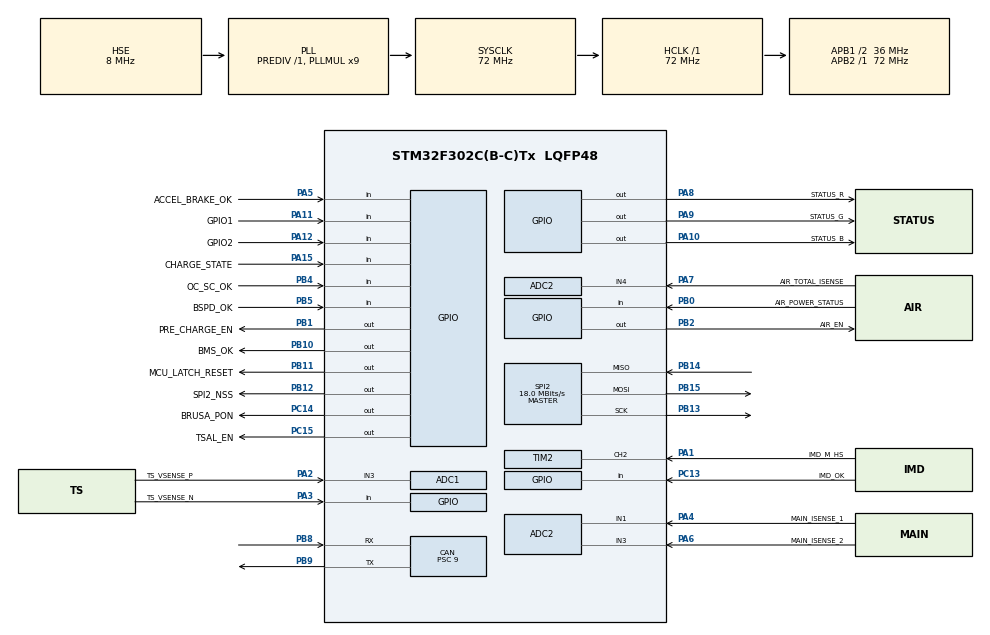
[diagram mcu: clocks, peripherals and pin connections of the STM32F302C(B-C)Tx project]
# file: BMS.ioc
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ADC1.Channel-0\#ChannelRegularConversion=ADC_CHANNEL_3
ADC1.ClockPrescaler=ADC_CLOCK_ASYNC_DIV1
ADC1.ContinuousConvMode=DISABLE
ADC1.DMAContinuousRequests=ENABLE
ADC1.DataAlign=ADC_DATAALIGN_RIGHT
ADC1.DiscontinuousConvMode=DISABLE
ADC1.EOCSelection=ADC_EOC_SINGLE_CONV
ADC1.EnableAnalogWatchDog1=false
ADC1.EnableAnalogWatchDog2=false
ADC1.EnableAnalogWatchDog3=false
ADC1.EnableInjectedConversion=ENABLE
ADC1.EnableRegularConversion=ENABLE
ADC1.ExternalTrigConv=ADC_EXTERNALTRIGCONV_T3_TRGO
ADC1.ExternalTrigConvEdge=ADC_EXTERNALTRIGCONVEDGE_RISING
ADC1.InjNumberOfConversion=0
ADC1.LowPowerAutoWait=DISABLE
ADC1.NbrOfConversion=1
ADC1.Offset-0\#ChannelRegularConversion=0
ADC1.OffsetNumber-0\#ChannelRegularConversion=ADC_OFFSET_NONE
ADC1.Overrun=ADC_OVR_DATA_OVERWRITTEN
ADC1.Rank-0\#ChannelRegularConversion=1
ADC1.Resolution=ADC_RESOLUTION_12B
ADC1.SamplingTime-0\#ChannelRegularConversion=ADC_SAMPLETIME_61CYCLES_5
ADC1.ScanConvMode=ADC_SCAN_DISABLE
ADC1.SubFamily=STM32F302xC
ADC1.master=1
ADC2.Channel-0\#ChannelRegularConversion=ADC_CHANNEL_1
ADC2.Channel-1\#ChannelRegularConversion=ADC_CHANNEL_3
ADC2.Channel-2\#ChannelRegularConversion=ADC_CHANNEL_4
ADC2.DMAContinuousRequests=ENABLE
ADC2.EOCSelection=ADC_EOC_SEQ_CONV
ADC2.ExternalTrigConv=ADC_EXTERNALTRIGCONV_T3_TRGO
ADC2.NbrOfConversion=3
ADC2.NbrOfConversionFlag=1
ADC2.Offset-0\#ChannelRegularConversion=0
ADC2.Offset-1\#ChannelRegularConversion=0
ADC2.Offset-2\#ChannelRegularConversion=0
ADC2.OffsetNumber-0\#ChannelRegularConversion=ADC_OFFSET_NONE
ADC2.OffsetNumber-1\#ChannelRegularConversion=ADC_OFFSET_NONE
ADC2.OffsetNumber-2\#ChannelRegularConversion=ADC_OFFSET_NONE
ADC2.Rank-0\#ChannelRegularConversion=1
ADC2.Rank-1\#ChannelRegularConversion=2
ADC2.Rank-2\#ChannelRegularConversion=3
ADC2.SamplingTime-0\#ChannelRegularConversion=ADC_SAMPLETIME_61CYCLES_5
ADC2.SamplingTime-1\#ChannelRegularConversion=ADC_SAMPLETIME_61CYCLES_5
ADC2.SamplingTime-2\#ChannelRegularConversion=ADC_SAMPLETIME_61CYCLES_5
ADC2.SubFamily=STM32F302xC
CAN.ABOM=ENABLE
CAN.AWUM=DISABLE
CAN.BS1=CAN_BS1_6TQ
CAN.BS2=CAN_BS2_1TQ
CAN.CalculateTimeQuantum=250.0
CAN.Mode=CAN_MODE_NORMAL
CAN.NART=ENABLE
CAN.Prescaler=9
CAN.RFLM=ENABLE
CAN.SJW=CAN_SJW_4TQ
CAN.TTCM=DISABLE
CAN.TXFP=ENABLE
Dma.ADC1.1.Direction=DMA_PERIPH_TO_MEMORY
Dma.ADC1.1.Instance=DMA1_Channel1
Dma.ADC1.1.MemDataAlignment=DMA_MDATAALIGN_HALFWORD
Dma.ADC1.1.MemInc=DMA_MINC_ENABLE
Dma.ADC1.1.Mode=DMA_CIRCULAR
Dma.ADC1.1.PeriphDataAlignment=DMA_PDATAALIGN_HALFWORD
Dma.ADC1.1.PeriphInc=DMA_PINC_DISABLE
Dma.ADC1.1.Priority=DMA_PRIORITY_LOW
Dma.ADC2.0.Direction=DMA_PERIPH_TO_MEMORY
Dma.ADC2.0.Instance=DMA2_Channel1
Dma.ADC2.0.MemDataAlignment=DMA_MDATAALIGN_HALFWORD
Dma.ADC2.0.MemInc=DMA_MINC_ENABLE
Dma.ADC2.0.Mode=DMA_CIRCULAR
Dma.ADC2.0.PeriphDataAlignment=DMA_PDATAALIGN_HALFWORD
Dma.ADC2.0.PeriphInc=DMA_PINC_DISABLE
Dma.ADC2.0.Priority=DMA_PRIORITY_LOW
Dma.Request0=ADC2
Dma.Request1=ADC1
FREERTOS.INCLUDE_eTaskGetState=0
FREERTOS.INCLUDE_pcTaskGetTaskName=0
FREERTOS.INCLUDE_uxTaskGetStackHighWaterMark=1
FREERTOS.INCLUDE_uxTaskPriorityGet=1
FREERTOS.INCLUDE_vTaskCleanUpResources=0
FREERTOS.INCLUDE_vTaskDelay=1
FREERTOS.INCLUDE_vTaskDelayUntil=1
FREERTOS.INCLUDE_vTaskDelete=1
FREERTOS.INCLUDE_vTaskPrioritySet=1
FREERTOS.INCLUDE_vTaskSuspend=1
FREERTOS.INCLUDE_xEventGroupSetBitFromISR=0
FREERTOS.INCLUDE_xQueueGetMutexHolder=0
FREERTOS.INCLUDE_xSemaphoreGetMutexHolder=0
FREERTOS.INCLUDE_xTaskAbortDelay=0
FREERTOS.INCLUDE_xTaskGetCurrentTaskHandle=0
FREERTOS.INCLUDE_xTaskGetHandle=0
FREERTOS.INCLUDE_xTaskResumeFromISR=1
FREERTOS.MEMORY_ALLOCATION=1
FREERTOS.Tasks01=Task1Hz,-2,TASK1HZ_STACK_SIZE,RunTask1Hz,Default,NULL,Static,Task1HzBuffer,Task1HzControlBlock;Task1kHz,1,TASK1KHZ_STACK_SIZE,RunTask1kHz,Default,NULL,Static,Task1kHzBuffer,Task1kHzControlBlock;TaskCanRx,-3,TASKCANRX_STACK_SIZE,RunTaskCanRx,Default,NULL,Static,TaskCanRxBuffer,TaskCanRxControlBlock;TaskCanTx,-3,TASKCANTX_STACK_SIZE,RunTaskCanTx,Default,NULL,Static,TaskCanTxBuffer,TaskCanTxControlBlock;Task100Hz,-1,TASK100HZ_STACK_SIZE,RunTask100Hz,Default,NULL,Static,Task100HzBuffer,Task100HzControlBlock
FREERTOS.configCHECK_FOR_STACK_OVERFLOW=2
FREERTOS.configENABLE_BACKWARD_COMPATIBILITY=1
FREERTOS.configGENERATE_RUN_TIME_STATS=0
FREERTOS.configIDLE_SHOULD_YIELD=1
FREERTOS.configLIBRARY_LOWEST_INTERRUPT_PRIORITY=15
FREERTOS.configLIBRARY_MAX_SYSCALL_INTERRUPT_PRIORITY=5
FREERTOS.configMAX_CO_ROUTINE_PRIORITIES=2
FREERTOS.configMAX_PRIORITIES=7
FREERTOS.configMAX_TASK_NAME_LEN=16
FREERTOS.configMINIMAL_STACK_SIZE=128
FREERTOS.configQUEUE_REGISTRY_SIZE=8
FREERTOS.configTICK_RATE_HZ=1000
FREERTOS.configUSE_APPLICATION_TASK_TAG=0
FREERTOS.configUSE_COUNTING_SEMAPHORES=0
FREERTOS.configUSE_CO_ROUTINES=0
FREERTOS.configUSE_DAEMON_TASK_STARTUP_HOOK=0
FREERTOS.configUSE_IDLE_HOOK=0
FREERTOS.configUSE_MALLOC_FAILED_HOOK=0
FREERTOS.configUSE_MUTEXES=1
FREERTOS.configUSE_PREEMPTION=1
FREERTOS.configUSE_RECURSIVE_MUTEXES=0
FREERTOS.configUSE_STATS_FORMATTING_FUNCTIONS=0
FREERTOS.configUSE_TASK_NOTIFICATIONS=1
FREERTOS.configUSE_TICKLESS_IDLE=0
FREERTOS.configUSE_TICK_HOOK=1
FREERTOS.configUSE_TIMERS=0
FREERTOS.configUSE_TRACE_FACILITY=1
IWDG.Prescaler=IWDG_PRESCALER_4
IWDG.Reload=LSI_FREQUENCY / IWDG_PRESCALER / IWDG_RESET_FREQUENCY
IWDG.Window=IWDG_WINDOW_DISABLE_VALUE
Mcu.Family=STM32F3
Mcu.Name=STM32F302C(B-C)Tx
Mcu.Package=LQFP48
Mcu.UserConstants=IWDG_WINDOW_DISABLE_VALUE,4095;IWDG_PRESCALER,4;IWDG_RESET_FREQUENCY,5;LSI_FREQUENCY,40000;TASK1HZ_STACK_SIZE,512;TASK100HZ_STACK_SIZE,512;TASK1KHZ_STACK_SIZE,512;TASKCANTX_STACK_SIZE,512;TASKCANRX_STACK_SIZE,512;TIM2_FREQUENCY,72000000;TIM2_AUTO_RELOAD_REG,0xFFFF;TIM2_PWM_MINIMUM_FREQUENCY,1;TIM2_PRESCALER,(TIM2_FREQUENCY / TIM2_AUTO_RELOAD_REG / TIM2_PWM_MINIMUM_FREQUENCY);TIMx_FREQUENCY,72000000;TIM3_PRESCALER,72;ADC1_ADC2_FREQUENCY,1000
NVIC.CAN_RX1_IRQn=true\:5\:0\:false\:false\:true\:true\:true\:true
NVIC.DMA1_Channel1_IRQn=true\:5\:0\:false\:false\:true\:true\:false\:true
NVIC.DMA2_Channel1_IRQn=true\:5\:0\:false\:false\:true\:true\:false\:true
NVIC.PriorityGroup=NVIC_PRIORITYGROUP_4
NVIC.TIM2_IRQn=true\:5\:0\:false\:false\:true\:true\:true\:true
NVIC.TIM6_DAC_IRQn=true\:0\:0\:false\:false\:true\:false\:false\:true
NVIC.TimeBase=TIM6_DAC_IRQn
NVIC.TimeBaseIP=TIM6
NVIC.USB_HP_CAN_TX_IRQn=true\:5\:0\:false\:false\:true\:true\:true\:true
NVIC.USB_LP_CAN_RX0_IRQn=true\:5\:0\:false\:false\:true\:true\:true\:true
PA1.GPIO_Label=IMD_M_HS
PA1.Signal=S_TIM2_CH2
PA10.GPIO_Label=STATUS_B
PA10.PinState=GPIO_PIN_SET
PA10.Signal=GPIO_Output
PA11.GPIO_Label=GPIO1
PA11.Signal=GPIO_Input
PA12.GPIO_Label=GPIO2
PA12.Signal=GPIO_Input
PA13.Mode=Trace_Asynchronous_SW
PA13.Signal=SYS_JTMS-SWDIO
PA14.Mode=Trace_Asynchronous_SW
PA14.Signal=SYS_JTCK-SWCLK
PA15.GPIO_Label=CHARGE_STATE
PA15.Signal=GPIO_Input
PA2.GPIO_Label=TS_VSENSE_P
PA2.Mode=IN3-Single-Ended
PA2.Signal=ADC1_IN3
PA3.GPIO_Label=TS_VSENSE_N
PA3.Signal=GPIO_Input
PA4.GPIO_Label=MAIN_ISENSE_1
PA4.Mode=IN1-Single-Ended
PA4.Signal=ADC2_IN1
PA5.GPIO_Label=ACCEL_BRAKE_OK
PA5.Signal=GPIO_Input
PA6.GPIO_Label=MAIN_ISENSE_2
PA6.Mode=IN3-Single-Ended
PA6.Signal=ADC2_IN3
PA7.GPIO_Label=AIR_TOTAL_ISENSE
PA7.Mode=IN4-Single-Ended
PA7.Signal=ADC2_IN4
PA8.GPIO_Label=STATUS_R
PA8.PinState=GPIO_PIN_SET
PA8.Signal=GPIO_Output
PA9.GPIO_Label=STATUS_G
PA9.PinState=GPIO_PIN_SET
PA9.Signal=GPIO_Output
PB0.GPIO_Label=AIR_POWER_STATUS
PB0.Signal=GPIO_Input
PB1.GPIO_Label=PRE_CHARGE_EN
PB1.Signal=GPIO_Output
PB10.GPIO_Label=BMS_OK
PB10.Signal=GPIO_Output
PB11.GPIO_Label=MCU_LATCH_RESET
PB11.Signal=GPIO_Output
PB12.GPIO_Label=SPI2_NSS
PB12.Signal=GPIO_Output
PB13.Mode=Full_Duplex_Master
PB13.Signal=SPI2_SCK
PB14.Mode=Full_Duplex_Master
PB14.Signal=SPI2_MISO
PB15.Mode=Full_Duplex_Master
PB15.Signal=SPI2_MOSI
PB2.GPIO_Label=AIR_EN
PB2.Signal=GPIO_Output
PB3.Mode=Trace_Asynchronous_SW
PB3.Signal=SYS_JTDO-TRACESWO
PB4.GPIO_Label=OC_SC_OK
PB4.Signal=GPIO_Input
PB5.GPIO_Label=BSPD_OK
PB5.Signal=GPIO_Input
PB6.Signal=I2C1_SCL
PB7.Signal=I2C1_SDA
PB8.Mode=Master
PB8.Signal=CAN_RX
PB9.Mode=Master
PB9.Signal=CAN_TX
PC13.GPIO_Label=IMD_OK
PC13.Signal=GPIO_Input
PC14-OSC32_IN.GPIO_Label=BRUSA_PON
PC14-OSC32_IN.Signal=GPIO_Output
PC15-OSC32_OUT.GPIO_Label=TSAL_EN
PC15-OSC32_OUT.Signal=GPIO_Output
PF0-OSC_IN.Mode=HSE-External-Oscillator
PF0-OSC_IN.Signal=RCC_OSC_IN
PF1-OSC_OUT.Mode=HSE-External-Oscillator
PF1-OSC_OUT.Signal=RCC_OSC_OUT
ProjectManager.HeapSize=0x0
ProjectManager.StackSize=0x400
ProjectManager.TargetToolchain=SW4STM32
RCC.AHBFreq_Value=72000000
RCC.APB1CLKDivider=RCC_HCLK_DIV2
RCC.APB1Freq_Value=36000000
RCC.APB1TimFreq_Value=72000000
RCC.APB2Freq_Value=72000000
RCC.APB2TimFreq_Value=72000000
RCC.CortexFreq_Value=72000000
RCC.HCLKFreq_Value=72000000
RCC.HSE_VALUE=8000000
RCC.HSI_VALUE=8000000
RCC.LSE_VALUE=32768
RCC.PLLMUL=RCC_PLL_MUL9
RCC.PLLSourceVirtual=RCC_PLLSOURCE_HSE
RCC.SYSCLKFreq_VALUE=72000000
RCC.SYSCLKSourceVirtual=RCC_SYSCLKSOURCE_PLLCLK
RCC.USBFreq_Value=72000000
SH.S_TIM2_CH2.0=TIM2_CH2,TriggerSource_TI2FP2
SH.S_TIM2_CH2.1=TIM2_CH2,Input_Capture2_from_TI2
SH.S_TIM2_CH2.2=TIM2_CH2,Input_Capture1_from_TI2
SPI2.CalculateBaudRate=18.0 MBits/s
SPI2.Direction=SPI_DIRECTION_2LINES
SPI2.Mode=SPI_MODE_MASTER
SPI2.VirtualType=VM_MASTER
TIM2.AutoReloadPreload=TIM_AUTORELOAD_PRELOAD_DISABLE
TIM2.Channel-Input_Capture1_from_TI2=TIM_CHANNEL_1
TIM2.Channel-Input_Capture2_from_TI2=TIM_CHANNEL_2
TIM2.ClockDivision=TIM_CLOCKDIVISION_DIV1
TIM2.CounterMode=TIM_COUNTERMODE_UP
TIM2.ICFilter_CH2=0
TIM2.ICPolarity_CH1=TIM_INPUTCHANNELPOLARITY_FALLING
TIM2.ICPolarity_CH2=TIM_INPUTCHANNELPOLARITY_RISING
TIM2.ICPrescaler-Input_Capture1_from_TI2=TIM_ICPSC_DIV1
TIM2.ICPrescaler-Input_Capture2_from_TI2=TIM_ICPSC_DIV1
TIM2.ICSelection-Input_Capture1_from_TI2=TIM_ICSELECTION_INDIRECTTI
TIM2.ICSelection-Input_Capture2_from_TI2=TIM_ICSELECTION_DIRECTTI
TIM2.Period=TIM2_AUTO_RELOAD_REG
TIM2.Prescaler=TIM2_PRESCALER
TIM2.TIM_MasterOutputTrigger=TIM_TRGO_RESET
TIM2.TIM_MasterSlaveMode=TIM_MASTERSLAVEMODE_DISABLE
TIM2.TIM_SlaveMode=TIM_SLAVEMODE_RESET
TIM3.Period=(TIMx_FREQUENCY / TIM3_PRESCALER) / ADC1_ADC2_FREQUENCY - 1
TIM3.Prescaler=TIM3_PRESCALER - 1
TIM3.TIM_MasterOutputTrigger=TIM_TRGO_UPDATE
VP_FREERTOS_VS_CMSIS_V1.Mode=CMSIS_V1
VP_IWDG_VS_IWDG.Mode=IWDG_Activate
VP_SYS_VS_tim6.Mode=TIM6
VP_TIM2_VS_ControllerModeReset.Mode=Reset Mode
VP_TIM3_VS_ClockSourceINT.Mode=Internal
board=custom

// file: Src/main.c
/* USER CODE BEGIN Header */
/**
 ******************************************************************************
 * @file           : main.c
 * @brief          : Main program body
 ******************************************************************************
 * @attention
 *
 * <h2><center>&copy; Copyright (c) 2020 STMicroelectronics.
 * All rights reserved.</center></h2>
 *
 * This software component is licensed by ST under Ultimate Liberty license
 * SLA0044, the "License"; You may not use this file except in compliance with
 * the License. You may obtain a copy of the License at:
 *                             www.st.com/SLA0044
 *
 ******************************************************************************
 */
/* USER CODE END Header */

#include "main.h"
#include "cmsis_os.h"

/* USER CODE BEGIN Includes */
#include <assert.h>

#include "Io_CanTx.h"
#include "Io_CanRx.h"
#include "Io_SharedSoftwareWatchdog.h"
#include "Io_SharedCan.h"
#include "Io_SharedHardFaultHandler.h"
#include "Io_StackWaterMark.h"
#include "Io_SoftwareWatchdog.h"
#include "Io_Imd.h"
#include "Io_HeartbeatMonitor.h"
#include "Io_RgbLedSequence.h"
#include "Io_Charger.h"
#include "Io_OkStatuses.h"
#include "Io_LTC6813.h"
#include "Io_CellVoltages.h"
#include "Io_DieTemperatures.h"
#include "Io_Airs.h"
#include "Io_PreCharge.h"
#include "Io_Adc.h"

#include "App_BmsWorld.h"
#include "App_AccumulatorVoltages.h"
#include "App_SharedStateMachine.h"
#include "states/App_InitState.h"
#include "configs/App_HeartbeatMonitorConfig.h"
#include "configs/App_ImdConfig.h"
#include "configs/App_AccumulatorThresholds.h"
#include "configs/App_CellMonitorsThresholds.h"
/* USER CODE END Includes */

ADC_HandleTypeDef hadc1;
ADC_HandleTypeDef hadc2;
DMA_HandleTypeDef hdma_adc1;
DMA_HandleTypeDef hdma_adc2;

CAN_HandleTypeDef hcan;

IWDG_HandleTypeDef hiwdg;

SPI_HandleTypeDef hspi2;

TIM_HandleTypeDef htim2;
TIM_HandleTypeDef htim3;

osThreadId          Task1HzHandle;
uint32_t            Task1HzBuffer[TASK1HZ_STACK_SIZE];
osStaticThreadDef_t Task1HzControlBlock;
osThreadId          Task1kHzHandle;
uint32_t            Task1kHzBuffer[TASK1KHZ_STACK_SIZE];
osStaticThreadDef_t Task1kHzControlBlock;
osThreadId          TaskCanRxHandle;
uint32_t            TaskCanRxBuffer[TASKCANRX_STACK_SIZE];
osStaticThreadDef_t TaskCanRxControlBlock;
osThreadId          TaskCanTxHandle;
uint32_t            TaskCanTxBuffer[TASKCANTX_STACK_SIZE];
osStaticThreadDef_t TaskCanTxControlBlock;
osThreadId          Task100HzHandle;
uint32_t            Task100HzBuffer[TASK100HZ_STACK_SIZE];
osStaticThreadDef_t Task100HzControlBlock;
/* USER CODE BEGIN PV */
struct BmsWorld *         world;
struct StateMachine *     state_machine;
struct BmsCanTxInterface *can_tx;
struct BmsCanRxInterface *can_rx;
struct Imd *              imd;
struct HeartbeatMonitor * heartbeat_monitor;
struct RgbLedSequence *   rgb_led_sequence;
struct Charger *          charger;
struct OkStatus *         bms_ok;
struct OkStatus *         imd_ok;
struct OkStatus *         bspd_ok;
struct Accumulator *      accumulator;
struct CellMonitors *     cell_monitors;
struct Airs *             airs;
struct PreChargeSequence *pre_charge_sequence;
struct Clock *            clock;
/* USER CODE END PV */

void        SystemClock_Config(void);
static void MX_GPIO_Init(void);
static void MX_DMA_Init(void);
static void MX_CAN_Init(void);
static void MX_ADC1_Init(void);
static void MX_IWDG_Init(void);
static void MX_TIM2_Init(void);
static void MX_ADC2_Init(void);
static void MX_SPI2_Init(void);
static void MX_TIM3_Init(void);
void        RunTask1Hz(void const *argument);
void        RunTask1kHz(void const *argument);
void        RunTaskCanRx(void const *argument);
void        RunTaskCanTx(void const *argument);
void        RunTask100Hz(void const *argument);

/* USER CODE BEGIN PFP */

static void CanRxQueueOverflowCallBack(size_t overflow_count);
static void CanTxQueueOverflowCallBack(size_t overflow_count);

/* USER CODE END PFP */

/* USER CODE BEGIN 0 */

static void CanRxQueueOverflowCallBack(size_t overflow_count)
{
    App_CanTx_SetPeriodicSignal_RX_OVERFLOW_COUNT(can_tx, overflow_count);
}

static void CanTxQueueOverflowCallBack(size_t overflow_count)
{
    App_CanTx_SetPeriodicSignal_TX_OVERFLOW_COUNT(can_tx, overflow_count);
}

/* USER CODE END 0 */

int main(void)
{

    /* MCU
     * Configuration--------------------------------------------------------*/

    /* Reset of all peripherals, Initializes the Flash interface and the
     * Systick. */
    HAL_Init();

    /* Configure the system clock */
    SystemClock_Config();

    /* Initialize all configured peripherals */
    MX_GPIO_Init();
    MX_DMA_Init();
    MX_CAN_Init();
    MX_ADC1_Init();
    MX_IWDG_Init();
    MX_TIM2_Init();
    MX_ADC2_Init();
    MX_SPI2_Init();
    MX_TIM3_Init();
    /* USER CODE BEGIN 2 */
    __HAL_DBGMCU_FREEZE_IWDG();

    HAL_ADC_Start_DMA(
        &hadc1, (uint32_t *)Io_Adc_GetRawAdc1Values(),
        hadc1.Init.NbrOfConversion);
    HAL_ADC_Start_DMA(
        &hadc2, (uint32_t *)Io_Adc_GetRawAdc2Values(),
        hadc2.Init.NbrOfConversion);
    HAL_TIM_Base_Start(&htim3);

    Io_SharedHardFaultHandler_Init();

    Io_Imd_Init();
    imd = App_Imd_Create(
        Io_Imd_GetFrequency, IMD_FREQUENCY_TOLERANCE, Io_Imd_GetDutyCycle,
        Io_Imd_GetTimeSincePowerOn);

    can_tx = App_CanTx_Create(
        Io_CanTx_EnqueueNonPeriodicMsg_BMS_STARTUP,
        Io_CanTx_EnqueueNonPeriodicMsg_BMS_WATCHDOG_TIMEOUT);

    can_rx = App_CanRx_Create();

    heartbeat_monitor = App_SharedHeartbeatMonitor_Create(
        Io_HeartbeatMonitor_GetCurrentMs, HEARTBEAT_MONITOR_TIMEOUT_PERIOD_MS,
        HEARTBEAT_MONITOR_BOARDS_TO_CHECK, Io_HeartbeatMonitor_TimeoutCallback);

    rgb_led_sequence = App_SharedRgbLedSequence_Create(
        Io_RgbLedSequence_TurnOnRedLed, Io_RgbLedSequence_TurnOnBlueLed,
        Io_RgbLedSequence_TurnOnGreenLed);

    charger = App_Charger_Create(
        Io_Charger_Enable, Io_Charger_Disable, Io_Charger_IsConnected);

    bms_ok = App_OkStatus_Create(
        Io_OkStatuses_EnableBmsOk, Io_OkStatuses_DisableBmsOk,
        Io_OkStatuses_IsBmsOkEnabled);

    imd_ok = App_OkStatus_Create(
        Io_OkStatuses_EnableImdOk, Io_OkStatuses_DisableImdOk,
        Io_OkStatuses_IsImdOkEnabled);

    bspd_ok = App_OkStatus_Create(
        Io_OkStatuses_EnableBspdOk, Io_OkStatuses_DisableBspdOk,
        Io_OkStatuses_IsBspdOkEnabled);

    Io_LTC6813_Init(&hspi2, SPI2_NSS_GPIO_Port, SPI2_NSS_Pin);
    App_AccumulatorVoltages_Init(Io_CellVoltages_GetRawCellVoltages);
    accumulator = App_Accumulator_Create(
        Io_LTC6813_ConfigureRegisterA, Io_CellVoltages_ReadRawCellVoltages,
        App_AccumulatorVoltages_GetMinCellVoltage,
        App_AccumulatorVoltages_GetMaxCellVoltage,
        App_AccumulatorVoltages_GetAverageCellVoltage,
        App_AccumulatorVoltages_GetPackVoltage,
        App_AccumulatorVoltages_GetSegment0Voltage,
        App_AccumulatorVoltages_GetSegment1Voltage,
        App_AccumulatorVoltages_GetSegment2Voltage,
        App_AccumulatorVoltages_GetSegment3Voltage,
        App_AccumulatorVoltages_GetSegment4Voltage,
        App_AccumulatorVoltages_GetSegment5Voltage, MIN_CELL_VOLTAGE,
        MAX_CELL_VOLTAGE, MIN_SEGMENT_VOLTAGE, MAX_SEGMENT_VOLTAGE,
        MIN_PACK_VOLTAGE, MAX_PACK_VOLTAGE);

    cell_monitors = App_CellMonitors_Create(
        Io_DieTemperatures_ReadTemp, Io_DieTemperatures_GetSegment0DieTemp,
        Io_DieTemperatures_GetSegment1DieTemp,
        Io_DieTemperatures_GetSegment2DieTemp,
        Io_DieTemperatures_GetSegment3DieTemp,
        Io_DieTemperatures_GetSegment4DieTemp,
        Io_DieTemperatures_GetSegment5DieTemp, Io_DieTemperatures_GetMaxDieTemp,
        MIN_ITMP_DEGC, MAX_ITMP_DEGC, DIE_TEMP_TO_REENABLE_CHARGER_DEGC,
        DIE_TEMP_TO_REENABLE_CELL_BALANCING_DEGC,
        DIE_TEMP_TO_DISABLE_CELL_BALANCING_DEGC,
        DIE_TEMP_TO_DISABLE_CHARGER_DEGC);

    airs = App_Airs_Create(
        Io_Airs_IsAirPositiveClosed, Io_Airs_IsAirNegativeClosed,
        Io_Airs_CloseAirPositive, Io_Airs_OpenAirPositive);

    pre_charge_sequence =
        App_PreChargeSequence_Create(Io_PreCharge_Enable, Io_PreCharge_Disable);

    clock = App_SharedClock_Create();

    world = App_BmsWorld_Create(
        can_tx, can_rx, imd, heartbeat_monitor, rgb_led_sequence, charger,
        bms_ok, imd_ok, bspd_ok, accumulator, cell_monitors, airs,
        pre_charge_sequence, clock);

    Io_StackWaterMark_Init(can_tx);
    Io_SoftwareWatchdog_Init(can_tx);

    state_machine = App_SharedStateMachine_Create(world, App_GetInitState());

    struct CanMsgs_bms_startup_t payload = { .dummy = 0 };
    App_CanTx_SendNonPeriodicMsg_BMS_STARTUP(can_tx, &payload);
    /* USER CODE END 2 */

    /* Create the thread(s) */
    /* definition and creation of Task1Hz */
    osThreadStaticDef(
        Task1Hz, RunTask1Hz, osPriorityLow, 0, TASK1HZ_STACK_SIZE,
        Task1HzBuffer, &Task1HzControlBlock);
    Task1HzHandle = osThreadCreate(osThread(Task1Hz), NULL);

    /* definition and creation of Task1kHz */
    osThreadStaticDef(
        Task1kHz, RunTask1kHz, osPriorityAboveNormal, 0, TASK1KHZ_STACK_SIZE,
        Task1kHzBuffer, &Task1kHzControlBlock);
    Task1kHzHandle = osThreadCreate(osThread(Task1kHz), NULL);

    /* definition and creation of TaskCanRx */
    osThreadStaticDef(
        TaskCanRx, RunTaskCanRx, osPriorityIdle, 0, TASKCANRX_STACK_SIZE,
        TaskCanRxBuffer, &TaskCanRxControlBlock);
    TaskCanRxHandle = osThreadCreate(osThread(TaskCanRx), NULL);

    /* definition and creation of TaskCanTx */
    osThreadStaticDef(
        TaskCanTx, RunTaskCanTx, osPriorityIdle, 0, TASKCANTX_STACK_SIZE,
        TaskCanTxBuffer, &TaskCanTxControlBlock);
    TaskCanTxHandle = osThreadCreate(osThread(TaskCanTx), NULL);

    /* definition and creation of Task100Hz */
    osThreadStaticDef(
        Task100Hz, RunTask100Hz, osPriorityBelowNormal, 0, TASK100HZ_STACK_SIZE,
        Task100HzBuffer, &Task100HzControlBlock);
    Task100HzHandle = osThreadCreate(osThread(Task100Hz), NULL);

    /* USER CODE BEGIN RTOS_THREADS */
    /* add threads, ... */
    // According to Percpio documentation, vTraceEnable() should be the last
    // function call before the scheduler starts.
#if (configUSE_TRACE_FACILITY == 1)
    vTraceEnable(TRC_INIT);
#endif
    /* USER CODE END RTOS_THREADS */

    /* Start scheduler */
    osKernelStart();

    /* We should never get here as control is now taken by the scheduler */

    /* Infinite loop */
    while (1)
    {

    }
}

void SystemClock_Config(void)
{
    RCC_OscInitTypeDef       RCC_OscInitStruct = { 0 };
    RCC_ClkInitTypeDef       RCC_ClkInitStruct = { 0 };
    RCC_PeriphCLKInitTypeDef PeriphClkInit     = { 0 };

    /** Initializes the CPU, AHB and APB busses clocks
     */
    RCC_OscInitStruct.OscillatorType =
        RCC_OSCILLATORTYPE_LSI | RCC_OSCILLATORTYPE_HSE;
    RCC_OscInitStruct.HSEState       = RCC_HSE_ON;
    RCC_OscInitStruct.HSEPredivValue = RCC_HSE_PREDIV_DIV1;
    RCC_OscInitStruct.HSIState       = RCC_HSI_ON;
    RCC_OscInitStruct.LSIState       = RCC_LSI_ON;
    RCC_OscInitStruct.PLL.PLLState   = RCC_PLL_ON;
    RCC_OscInitStruct.PLL.PLLSource  = RCC_PLLSOURCE_HSE;
    RCC_OscInitStruct.PLL.PLLMUL     = RCC_PLL_MUL9;
    if (HAL_RCC_OscConfig(&RCC_OscInitStruct) != HAL_OK)
    {
        Error_Handler();
    }
    /** Initializes the CPU, AHB and APB busses clocks
     */
    RCC_ClkInitStruct.ClockType = RCC_CLOCKTYPE_HCLK | RCC_CLOCKTYPE_SYSCLK |
                                  RCC_CLOCKTYPE_PCLK1 | RCC_CLOCKTYPE_PCLK2;
    RCC_ClkInitStruct.SYSCLKSource   = RCC_SYSCLKSOURCE_PLLCLK;
    RCC_ClkInitStruct.AHBCLKDivider  = RCC_SYSCLK_DIV1;
    RCC_ClkInitStruct.APB1CLKDivider = RCC_HCLK_DIV2;
    RCC_ClkInitStruct.APB2CLKDivider = RCC_HCLK_DIV1;

    if (HAL_RCC_ClockConfig(&RCC_ClkInitStruct, FLASH_LATENCY_2) != HAL_OK)
    {
        Error_Handler();
    }
    PeriphClkInit.PeriphClockSelection = RCC_PERIPHCLK_ADC12;
    PeriphClkInit.Adc12ClockSelection  = RCC_ADC12PLLCLK_DIV1;
    if (HAL_RCCEx_PeriphCLKConfig(&PeriphClkInit) != HAL_OK)
    {
        Error_Handler();
    }
}

static void MX_ADC1_Init(void)
{

    ADC_MultiModeTypeDef   multimode = { 0 };
    ADC_ChannelConfTypeDef sConfig   = { 0 };

    /** Common config
     */
    hadc1.Instance                   = ADC1;
    hadc1.Init.ClockPrescaler        = ADC_CLOCK_ASYNC_DIV1;
    hadc1.Init.Resolution            = ADC_RESOLUTION_12B;
    hadc1.Init.ScanConvMode          = ADC_SCAN_DISABLE;
    hadc1.Init.ContinuousConvMode    = DISABLE;
    hadc1.Init.DiscontinuousConvMode = DISABLE;
    hadc1.Init.ExternalTrigConvEdge  = ADC_EXTERNALTRIGCONVEDGE_RISING;
    hadc1.Init.ExternalTrigConv      = ADC_EXTERNALTRIGCONV_T3_TRGO;
    hadc1.Init.DataAlign             = ADC_DATAALIGN_RIGHT;
    hadc1.Init.NbrOfConversion       = 1;
    hadc1.Init.DMAContinuousRequests = ENABLE;
    hadc1.Init.EOCSelection          = ADC_EOC_SINGLE_CONV;
    hadc1.Init.LowPowerAutoWait      = DISABLE;
    hadc1.Init.Overrun               = ADC_OVR_DATA_OVERWRITTEN;
    if (HAL_ADC_Init(&hadc1) != HAL_OK)
    {
        Error_Handler();
    }
    /** Configure the ADC multi-mode
     */
    multimode.Mode = ADC_MODE_INDEPENDENT;
    if (HAL_ADCEx_MultiModeConfigChannel(&hadc1, &multimode) != HAL_OK)
    {
        Error_Handler();
    }
    /** Configure Regular Channel
     */
    sConfig.Channel      = ADC_CHANNEL_3;
    sConfig.Rank         = ADC_REGULAR_RANK_1;
    sConfig.SingleDiff   = ADC_SINGLE_ENDED;
    sConfig.SamplingTime = ADC_SAMPLETIME_61CYCLES_5;
    sConfig.OffsetNumber = ADC_OFFSET_NONE;
    sConfig.Offset       = 0;
    if (HAL_ADC_ConfigChannel(&hadc1, &sConfig) != HAL_OK)
    {
        Error_Handler();
    }
}

static void MX_ADC2_Init(void)
{

    ADC_ChannelConfTypeDef sConfig = { 0 };

    /** Common config
     */
    hadc2.Instance                   = ADC2;
    hadc2.Init.ClockPrescaler        = ADC_CLOCK_ASYNC_DIV1;
    hadc2.Init.Resolution            = ADC_RESOLUTION_12B;
    hadc2.Init.ScanConvMode          = ADC_SCAN_ENABLE;
    hadc2.Init.ContinuousConvMode    = DISABLE;
    hadc2.Init.DiscontinuousConvMode = DISABLE;
    hadc2.Init.ExternalTrigConvEdge  = ADC_EXTERNALTRIGCONVEDGE_RISING;
    hadc2.Init.ExternalTrigConv      = ADC_EXTERNALTRIGCONV_T3_TRGO;
    hadc2.Init.DataAlign             = ADC_DATAALIGN_RIGHT;
    hadc2.Init.NbrOfConversion       = 3;
    hadc2.Init.DMAContinuousRequests = ENABLE;
    hadc2.Init.EOCSelection          = ADC_EOC_SEQ_CONV;
    hadc2.Init.LowPowerAutoWait      = DISABLE;
    hadc2.Init.Overrun               = ADC_OVR_DATA_OVERWRITTEN;
    if (HAL_ADC_Init(&hadc2) != HAL_OK)
    {
        Error_Handler();
    }
    /** Configure Regular Channel
     */
    sConfig.Channel      = ADC_CHANNEL_1;
    sConfig.Rank         = ADC_REGULAR_RANK_1;
    sConfig.SingleDiff   = ADC_SINGLE_ENDED;
    sConfig.SamplingTime = ADC_SAMPLETIME_61CYCLES_5;
    sConfig.OffsetNumber = ADC_OFFSET_NONE;
    sConfig.Offset       = 0;
    if (HAL_ADC_ConfigChannel(&hadc2, &sConfig) != HAL_OK)
    {
        Error_Handler();
    }
    /** Configure Regular Channel
     */
    sConfig.Channel = ADC_CHANNEL_3;
    sConfig.Rank    = ADC_REGULAR_RANK_2;
    if (HAL_ADC_ConfigChannel(&hadc2, &sConfig) != HAL_OK)
    {
        Error_Handler();
    }
    /** Configure Regular Channel
     */
    sConfig.Channel = ADC_CHANNEL_4;
    sConfig.Rank    = ADC_REGULAR_RANK_3;
    if (HAL_ADC_ConfigChannel(&hadc2, &sConfig) != HAL_OK)
    {
        Error_Handler();
    }
}

static void MX_CAN_Init(void)
{

    hcan.Instance                  = CAN;
    hcan.Init.Prescaler            = 9;
    hcan.Init.Mode                 = CAN_MODE_NORMAL;
    hcan.Init.SyncJumpWidth        = CAN_SJW_4TQ;
    hcan.Init.TimeSeg1             = CAN_BS1_6TQ;
    hcan.Init.TimeSeg2             = CAN_BS2_1TQ;
    hcan.Init.TimeTriggeredMode    = DISABLE;
    hcan.Init.AutoBusOff           = ENABLE;
    hcan.Init.AutoWakeUp           = DISABLE;
    hcan.Init.AutoRetransmission   = ENABLE;
    hcan.Init.ReceiveFifoLocked    = ENABLE;
    hcan.Init.TransmitFifoPriority = ENABLE;
    if (HAL_CAN_Init(&hcan) != HAL_OK)
    {
        Error_Handler();
    }
    /* USER CODE BEGIN CAN_Init 2 */
    Io_SharedCan_Init(
        &hcan, CanTxQueueOverflowCallBack, CanRxQueueOverflowCallBack);
    /* USER CODE END CAN_Init 2 */
}

static void MX_IWDG_Init(void)
{

    hiwdg.Instance       = IWDG;
    hiwdg.Init.Prescaler = IWDG_PRESCALER_4;
    hiwdg.Init.Window    = IWDG_WINDOW_DISABLE_VALUE;
    hiwdg.Init.Reload = LSI_FREQUENCY / IWDG_PRESCALER / IWDG_RESET_FREQUENCY;
    if (HAL_IWDG_Init(&hiwdg) != HAL_OK)
    {
        Error_Handler();
    }
    /* USER CODE BEGIN IWDG_Init 2 */
    Io_SharedSoftwareWatchdog_Init(
        Io_HardwareWatchdog_Refresh, Io_SoftwareWatchdog_TimeoutCallback);
    /* USER CODE END IWDG_Init 2 */
}

static void MX_SPI2_Init(void)
{

    /* SPI2 parameter configuration*/
    hspi2.Instance               = SPI2;
    hspi2.Init.Mode              = SPI_MODE_MASTER;
    hspi2.Init.Direction         = SPI_DIRECTION_2LINES;
    hspi2.Init.DataSize          = SPI_DATASIZE_8BIT;
    hspi2.Init.CLKPolarity       = SPI_POLARITY_HIGH;
    hspi2.Init.CLKPhase          = SPI_PHASE_2EDGE;
    hspi2.Init.NSS               = SPI_NSS_SOFT;
    hspi2.Init.BaudRatePrescaler = SPI_BAUDRATEPRESCALER_32;
    hspi2.Init.FirstBit          = SPI_FIRSTBIT_MSB;
    hspi2.Init.TIMode            = SPI_TIMODE_DISABLE;
    hspi2.Init.CRCCalculation    = SPI_CRCCALCULATION_DISABLE;
    hspi2.Init.CRCPolynomial     = 7;
    hspi2.Init.CRCLength         = SPI_CRC_LENGTH_DATASIZE;
    hspi2.Init.NSSPMode          = SPI_NSS_PULSE_DISABLE;
    if (HAL_SPI_Init(&hspi2) != HAL_OK)
    {
        Error_Handler();
    }
}

static void MX_TIM2_Init(void)
{

    TIM_SlaveConfigTypeDef  sSlaveConfig  = { 0 };
    TIM_MasterConfigTypeDef sMasterConfig = { 0 };
    TIM_IC_InitTypeDef      sConfigIC     = { 0 };

    htim2.Instance               = TIM2;
    htim2.Init.Prescaler         = TIM2_PRESCALER;
    htim2.Init.CounterMode       = TIM_COUNTERMODE_UP;
    htim2.Init.Period            = TIM2_AUTO_RELOAD_REG;
    htim2.Init.ClockDivision     = TIM_CLOCKDIVISION_DIV1;
    htim2.Init.AutoReloadPreload = TIM_AUTORELOAD_PRELOAD_DISABLE;
    if (HAL_TIM_Base_Init(&htim2) != HAL_OK)
    {
        Error_Handler();
    }
    if (HAL_TIM_IC_Init(&htim2) != HAL_OK)
    {
        Error_Handler();
    }
    sSlaveConfig.SlaveMode       = TIM_SLAVEMODE_RESET;
    sSlaveConfig.InputTrigger    = TIM_TS_TI2FP2;
    sSlaveConfig.TriggerPolarity = TIM_INPUTCHANNELPOLARITY_RISING;
    sSlaveConfig.TriggerFilter   = 0;
    if (HAL_TIM_SlaveConfigSynchronization(&htim2, &sSlaveConfig) != HAL_OK)
    {
        Error_Handler();
    }
    sMasterConfig.MasterOutputTrigger = TIM_TRGO_RESET;
    sMasterConfig.MasterSlaveMode     = TIM_MASTERSLAVEMODE_DISABLE;
    if (HAL_TIMEx_MasterConfigSynchronization(&htim2, &sMasterConfig) != HAL_OK)
    {
        Error_Handler();
    }
    sConfigIC.ICPolarity  = TIM_INPUTCHANNELPOLARITY_FALLING;
    sConfigIC.ICSelection = TIM_ICSELECTION_INDIRECTTI;
    sConfigIC.ICPrescaler = TIM_ICPSC_DIV1;
    sConfigIC.ICFilter    = 0;
    if (HAL_TIM_IC_ConfigChannel(&htim2, &sConfigIC, TIM_CHANNEL_1) != HAL_OK)
    {
        Error_Handler();
    }
    sConfigIC.ICPolarity  = TIM_INPUTCHANNELPOLARITY_RISING;
    sConfigIC.ICSelection = TIM_ICSELECTION_DIRECTTI;
    if (HAL_TIM_IC_ConfigChannel(&htim2, &sConfigIC, TIM_CHANNEL_2) != HAL_OK)
    {
        Error_Handler();
    }
}

static void MX_TIM3_Init(void)
{

    TIM_ClockConfigTypeDef  sClockSourceConfig = { 0 };
    TIM_MasterConfigTypeDef sMasterConfig      = { 0 };

    htim3.Instance         = TIM3;
    htim3.Init.Prescaler   = TIM3_PRESCALER - 1;
    htim3.Init.CounterMode = TIM_COUNTERMODE_UP;
    htim3.Init.Period =
        (TIMx_FREQUENCY / TIM3_PRESCALER) / ADC1_ADC2_FREQUENCY - 1;
    htim3.Init.ClockDivision     = TIM_CLOCKDIVISION_DIV1;
    htim3.Init.AutoReloadPreload = TIM_AUTORELOAD_PRELOAD_DISABLE;
    if (HAL_TIM_Base_Init(&htim3) != HAL_OK)
    {
        Error_Handler();
    }
    sClockSourceConfig.ClockSource = TIM_CLOCKSOURCE_INTERNAL;
    if (HAL_TIM_ConfigClockSource(&htim3, &sClockSourceConfig) != HAL_OK)
    {
        Error_Handler();
    }
    sMasterConfig.MasterOutputTrigger = TIM_TRGO_UPDATE;
    sMasterConfig.MasterSlaveMode     = TIM_MASTERSLAVEMODE_DISABLE;
    if (HAL_TIMEx_MasterConfigSynchronization(&htim3, &sMasterConfig) != HAL_OK)
    {
        Error_Handler();
    }
}

static void MX_DMA_Init(void)
{
    /* DMA controller clock enable */
    __HAL_RCC_DMA2_CLK_ENABLE();
    __HAL_RCC_DMA1_CLK_ENABLE();

    /* DMA interrupt init */
    /* DMA1_Channel1_IRQn interrupt configuration */
    HAL_NVIC_SetPriority(DMA1_Channel1_IRQn, 5, 0);
    HAL_NVIC_EnableIRQ(DMA1_Channel1_IRQn);
    /* DMA2_Channel1_IRQn interrupt configuration */
    HAL_NVIC_SetPriority(DMA2_Channel1_IRQn, 5, 0);
    HAL_NVIC_EnableIRQ(DMA2_Channel1_IRQn);
}

static void MX_GPIO_Init(void)
{
    GPIO_InitTypeDef GPIO_InitStruct = { 0 };

    /* GPIO Ports Clock Enable */
    __HAL_RCC_GPIOC_CLK_ENABLE();
    __HAL_RCC_GPIOF_CLK_ENABLE();
    __HAL_RCC_GPIOA_CLK_ENABLE();
    __HAL_RCC_GPIOB_CLK_ENABLE();

    /*Configure GPIO pin Output Level */
    HAL_GPIO_WritePin(GPIOC, BRUSA_PON_Pin | TSAL_EN_Pin, GPIO_PIN_RESET);

    /*Configure GPIO pin Output Level */
    HAL_GPIO_WritePin(
        GPIOB,
        PRE_CHARGE_EN_Pin | AIR_EN_Pin | BMS_OK_Pin | MCU_LATCH_RESET_Pin,
        GPIO_PIN_RESET);

    /*Configure GPIO pin Output Level */
    HAL_GPIO_WritePin(SPI2_NSS_GPIO_Port, SPI2_NSS_Pin, GPIO_PIN_SET);

    /*Configure GPIO pin Output Level */
    HAL_GPIO_WritePin(
        GPIOA, STATUS_R_Pin | STATUS_G_Pin | STATUS_B_Pin, GPIO_PIN_SET);

    /*Configure GPIO pin : IMD_OK_Pin */
    GPIO_InitStruct.Pin  = IMD_OK_Pin;
    GPIO_InitStruct.Mode = GPIO_MODE_INPUT;
    GPIO_InitStruct.Pull = GPIO_NOPULL;
    HAL_GPIO_Init(IMD_OK_GPIO_Port, &GPIO_InitStruct);

    /*Configure GPIO pins : BRUSA_PON_Pin TSAL_EN_Pin */
    GPIO_InitStruct.Pin   = BRUSA_PON_Pin | TSAL_EN_Pin;
    GPIO_InitStruct.Mode  = GPIO_MODE_OUTPUT_PP;
    GPIO_InitStruct.Pull  = GPIO_NOPULL;
    GPIO_InitStruct.Speed = GPIO_SPEED_FREQ_LOW;
    HAL_GPIO_Init(GPIOC, &GPIO_InitStruct);

    /*Configure GPIO pin : PA0 */
    GPIO_InitStruct.Pin  = GPIO_PIN_0;
    GPIO_InitStruct.Mode = GPIO_MODE_ANALOG;
    GPIO_InitStruct.Pull = GPIO_NOPULL;
    HAL_GPIO_Init(GPIOA, &GPIO_InitStruct);

    /*Configure GPIO pins : TS_VSENSE_N_Pin ACCEL_BRAKE_OK_Pin GPIO1_Pin
       GPIO2_Pin CHARGE_STATE_Pin */
    GPIO_InitStruct.Pin = TS_VSENSE_N_Pin | ACCEL_BRAKE_OK_Pin | GPIO1_Pin |
                          GPIO2_Pin | CHARGE_STATE_Pin;
    GPIO_InitStruct.Mode = GPIO_MODE_INPUT;
    GPIO_InitStruct.Pull = GPIO_NOPULL;
    HAL_GPIO_Init(GPIOA, &GPIO_InitStruct);

    /*Configure GPIO pins : AIR_POWER_STATUS_Pin OC_SC_OK_Pin BSPD_OK_Pin */
    GPIO_InitStruct.Pin  = AIR_POWER_STATUS_Pin | OC_SC_OK_Pin | BSPD_OK_Pin;
    GPIO_InitStruct.Mode = GPIO_MODE_INPUT;
    GPIO_InitStruct.Pull = GPIO_NOPULL;
    HAL_GPIO_Init(GPIOB, &GPIO_InitStruct);

    /*Configure GPIO pins : PRE_CHARGE_EN_Pin AIR_EN_Pin BMS_OK_Pin
     * MCU_LATCH_RESET_Pin */
    GPIO_InitStruct.Pin =
        PRE_CHARGE_EN_Pin | AIR_EN_Pin | BMS_OK_Pin | MCU_LATCH_RESET_Pin;
    GPIO_InitStruct.Mode  = GPIO_MODE_OUTPUT_PP;
    GPIO_InitStruct.Pull  = GPIO_NOPULL;
    GPIO_InitStruct.Speed = GPIO_SPEED_FREQ_LOW;
    HAL_GPIO_Init(GPIOB, &GPIO_InitStruct);

    /*Configure GPIO pin : SPI2_NSS_Pin */
    GPIO_InitStruct.Pin   = SPI2_NSS_Pin;
    GPIO_InitStruct.Mode  = GPIO_MODE_OUTPUT_PP;
    GPIO_InitStruct.Pull  = GPIO_NOPULL;
    GPIO_InitStruct.Speed = GPIO_SPEED_FREQ_HIGH;
    HAL_GPIO_Init(SPI2_NSS_GPIO_Port, &GPIO_InitStruct);

    /*Configure GPIO pins : STATUS_R_Pin STATUS_G_Pin STATUS_B_Pin */
    GPIO_InitStruct.Pin   = STATUS_R_Pin | STATUS_G_Pin | STATUS_B_Pin;
    GPIO_InitStruct.Mode  = GPIO_MODE_OUTPUT_PP;
    GPIO_InitStruct.Pull  = GPIO_NOPULL;
    GPIO_InitStruct.Speed = GPIO_SPEED_FREQ_LOW;
    HAL_GPIO_Init(GPIOA, &GPIO_InitStruct);

    /*Configure GPIO pins : PB6 PB7 */
    GPIO_InitStruct.Pin       = GPIO_PIN_6 | GPIO_PIN_7;
    GPIO_InitStruct.Mode      = GPIO_MODE_AF_OD;
    GPIO_InitStruct.Pull      = GPIO_PULLUP;
    GPIO_InitStruct.Speed     = GPIO_SPEED_FREQ_HIGH;
    GPIO_InitStruct.Alternate = GPIO_AF4_I2C1;
    HAL_GPIO_Init(GPIOB, &GPIO_InitStruct);
}

void RunTask1Hz(void const *argument)
{
    /* USER CODE BEGIN 5 */
    UNUSED(argument);
    uint32_t                 PreviousWakeTime = osKernelSysTick();
    static const TickType_t  period_ms        = 1000U;
    SoftwareWatchdogHandle_t watchdog =
        Io_SharedSoftwareWatchdog_AllocateWatchdog();
    Io_SharedSoftwareWatchdog_InitWatchdog(watchdog, "TASK_1HZ", period_ms);

    for (;;)
    {
        App_SharedStateMachine_Tick1Hz(state_machine);
        Io_StackWaterMark_Check();
        // Watchdog check-in must be the last function called before putting the
        // task to sleep.
        Io_SharedSoftwareWatchdog_CheckInWatchdog(watchdog);
        osDelayUntil(&PreviousWakeTime, period_ms);
    }
    /* USER CODE END 5 */
}

void RunTask1kHz(void const *argument)
{
    /* USER CODE BEGIN RunTask1kHz */
    UNUSED(argument);
    uint32_t                 PreviousWakeTime = osKernelSysTick();
    static const TickType_t  period_ms        = 1;
    SoftwareWatchdogHandle_t watchdog =
        Io_SharedSoftwareWatchdog_AllocateWatchdog();
    Io_SharedSoftwareWatchdog_InitWatchdog(watchdog, "TASK_1KHZ", period_ms);

    for (;;)
    {
        const uint32_t current_time_ms = osKernelSysTick() * portTICK_PERIOD_MS;

                                App_SharedClock_SetCurrentTimeInMilliseconds(clock, current_time_ms);
        Io_CanTx_EnqueuePeriodicMsgs(can_tx, current_time_ms);

        // Watchdog check-in must be the last function called before putting the
        // task to sleep.
        Io_SharedSoftwareWatchdog_CheckInWatchdog(watchdog);
        osDelayUntil(&PreviousWakeTime, period_ms);
    }
    /* USER CODE END RunTask1kHz */
}

void RunTaskCanRx(void const *argument)
{
    /* USER CODE BEGIN RunTaskCanRx */
    UNUSED(argument);

    for (;;)
    {
        struct CanMsg message;
        Io_SharedCan_DequeueCanRxMessage(&message);
        Io_CanRx_UpdateRxTableWithMessage(
            App_BmsWorld_GetCanRx(world), &message);
    }
    /* USER CODE END RunTaskCanRx */
}

void RunTaskCanTx(void const *argument)
{
    /* USER CODE BEGIN RunTaskCanTx */
    UNUSED(argument);

    for (;;)
    {
        Io_SharedCan_TransmitEnqueuedCanTxMessagesFromTask();
    }
    /* USER CODE END RunTaskCanTx */
}

void RunTask100Hz(void const *argument)
{
    /* USER CODE BEGIN RunTask100Hz */
    UNUSED(argument);
    uint32_t                 PreviousWakeTime = osKernelSysTick();
    static const TickType_t  period_ms        = 10;
    SoftwareWatchdogHandle_t watchdog =
        Io_SharedSoftwareWatchdog_AllocateWatchdog();
    Io_SharedSoftwareWatchdog_InitWatchdog(watchdog, "TASK_100HZ", period_ms);

    /* Infinite loop */
    for (;;)
    {
        App_SharedStateMachine_Tick100Hz(state_machine);

        // Watchdog check-in must be the last function called before putting the
        // task to sleep.
        Io_SharedSoftwareWatchdog_CheckInWatchdog(watchdog);
        osDelayUntil(&PreviousWakeTime, period_ms);
    }
    /* USER CODE END RunTask100Hz */
}

void HAL_TIM_PeriodElapsedCallback(TIM_HandleTypeDef *htim)
{
    if (htim->Instance == TIM6)
    {
        HAL_IncTick();
    }
}

void Error_Handler(void)
{
    /* USER CODE BEGIN Error_Handler_Debug */
    __assert_func(file, line, "Error_Handler", "Error_Handler");
    /* USER CODE END Error_Handler_Debug */
}

#ifdef USE_FULL_ASSERT
/**
 * @brief  Reports the name of the source file and the source line number
 *         where the assert_param error has occurred.
 * @param  file: pointer to the source file name
 * @param  line: assert_param error line source number
 * @retval None
 */
void assert_failed(char *file, uint32_t line)
{
    /* USER CODE BEGIN 6 */
    __assert_func(file, line, "assert_failed", "assert_failed");
    /* USER CODE END 6 */
}
#endif /* USE_FULL_ASSERT */

/************************ (C) COPYRIGHT STMicroelectronics *****END OF FILE****/
